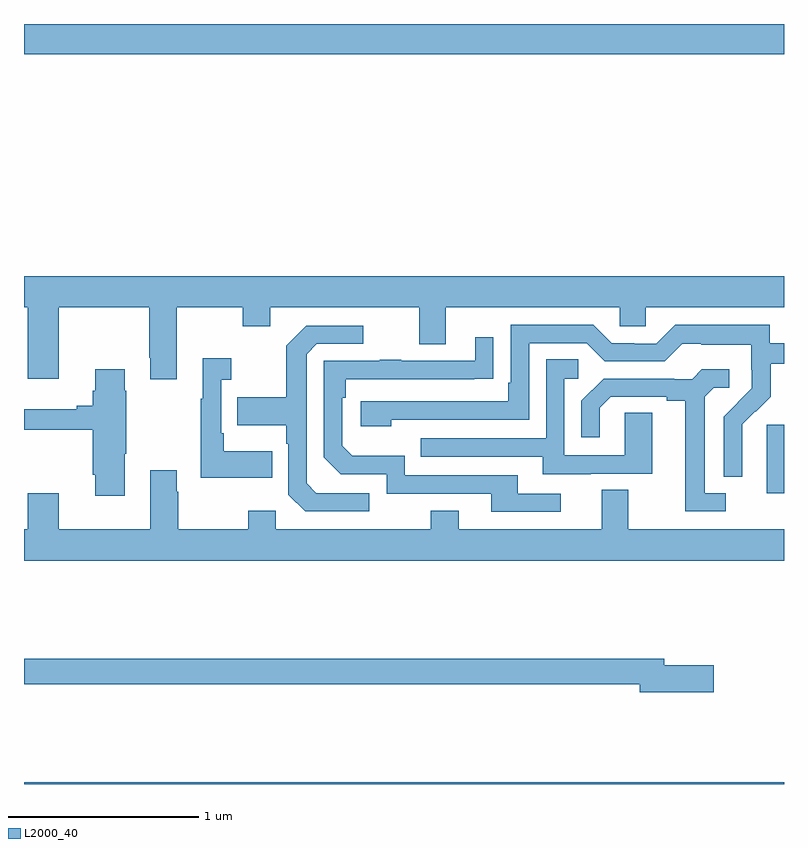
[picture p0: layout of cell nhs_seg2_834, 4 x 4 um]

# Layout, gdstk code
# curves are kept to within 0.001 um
import gdstk
lib = gdstk.Library(unit=1e-6, precision=1e-09)
def R(c, l, rs):  # rectangles x0, y0, x1, y1
    for r in rs: c.add(gdstk.rectangle(r[:2], r[2:], *l))
def P(c, l, *ps):  # polygons
    for p in ps: c.add(gdstk.Polygon(p, *l))
L2000_40 = (2000, 40)

nhs_seg2_834 = lib.new_cell('nhs_seg2_834')
R(nhs_seg2_834, L2000_40, [(153,639.8,157,639.808), (156.908,641.33,157,641.691), (153,643.64,157,643.8)])
P(nhs_seg2_834, L2000_40, [(153.805,642.308),(154.15,642.308),(154.15,642.209),(154.297,642.209),(154.297,642.308),(155.081,642.308),(155.081,642.114),(155.221,642.114),(155.221,642.308),(156.135,642.308),(156.135,642.21),(156.273,642.21),(156.273,642.308),(157,642.308),(157,642.472),(153,642.472),(153,642.308),(153.02,642.308),(153.02,641.934),(153.184,641.934),(153.184,642.308),(153.658,642.308),(153.658,642.043),(153.665,642.043),(153.665,641.931),(153.805,641.931)],
  [(156.78,641.57),(156.779,641.693),(156.849,641.763),(156.852,641.76),(156.929,641.837),(156.929,642.012),(157,642.012),(157,642.12),(156.924,642.12),(156.924,642.217),(156.427,642.217),(156.327,642.117),(156.212,642.117),(156.212,642.12),(156.093,642.12),(155.997,642.216),(155.562,642.216),(155.562,641.911),(155.549,641.911),(155.549,641.814),(154.773,641.814),(154.773,641.684),(154.934,641.684),(154.934,641.718),(155.658,641.718),(155.658,642.12),(155.961,642.12),(156.057,642.024),(156.372,642.024),(156.465,642.117),(156.565,642.117),(156.565,642.113),(156.828,642.113),(156.828,641.979),(156.83,641.979),(156.83,641.882),(156.684,641.734),(156.684,641.416),(156.78,641.416)],
  [(154.816,641.331),(154.539,641.331),(154.488,641.382),(154.488,642.063),(154.542,642.117),(154.786,642.117),(154.786,642.213),(154.485,642.213),(154.38,642.107),(154.38,641.835),(154.123,641.835),(154.123,641.687),(154.38,641.687),(154.38,641.591),(154.392,641.591),(154.392,641.322),(154.479,641.235),(154.816,641.235)],
  [(155.824,641.328),(155.599,641.328),(155.599,641.424),(155.004,641.424),(155.004,641.527),(154.727,641.527),(154.674,641.58),(154.674,641.834),(154.694,641.834),(154.694,641.931),(155.471,641.932),(155.471,642.151),(155.375,642.151),(155.375,642.027),(154.985,642.027),(154.985,642.032),(154.873,642.032),(154.873,642.027),(154.578,642.027),(154.578,641.52),(154.668,641.43),(154.908,641.43),(154.908,641.328),(155.459,641.328),(155.459,641.232),(155.824,641.232)],
  [(154.307,641.551),(154.051,641.551),(154.051,641.647),(154.038,641.647),(154.038,641.927),(154.09,641.927),(154.09,642.04),(153.941,642.04),(153.941,641.827),(153.93,641.827),(153.93,641.411),(154.307,641.411)],
  [(155.983,641.433),(156.307,641.433),(156.307,641.753),(156.162,641.753),(156.162,641.529),(155.844,641.529),(155.844,641.934),(155.917,641.934),(155.917,642.035),(155.748,642.035),(155.748,641.619),(155.089,641.619),(155.089,641.523),(155.729,641.523),(155.729,641.429),(155.983,641.429)],
  [(153.529,641.539),(153.537,641.539),(153.537,641.87),(153.529,641.87),(153.529,641.983),(153.374,641.983),(153.374,641.87),(153.362,641.87),(153.362,641.792),(153.278,641.792),(153.278,641.773),(153,641.773),(153,641.664),(153.362,641.664),(153.362,641.428),(153.374,641.428),(153.374,641.316),(153.529,641.316)],
  [(156.694,641.331),(156.583,641.331),(156.583,641.839),(156.63,641.886),(156.712,641.886),(156.712,641.983),(156.568,641.983),(156.516,641.931),(156.422,641.931),(156.422,641.934),(156.05,641.934),(155.934,641.818),(155.934,641.625),(156.031,641.625),(156.031,641.781),(156.088,641.838),(156.383,641.838),(156.383,641.816),(156.479,641.816),(156.479,641.235),(156.694,641.235)],
  [(157,641.14),(156.181,641.14),(156.181,641.348),(156.041,641.348),(156.041,641.14),(155.287,641.14),(155.287,641.239),(155.14,641.239),(155.14,641.14),(154.326,641.14),(154.326,641.239),(154.18,641.239),(154.18,641.14),(153.813,641.14),(153.813,641.339),(153.805,641.339),(153.805,641.452),(153.665,641.452),(153.665,641.14),(153.184,641.14),(153.184,641.329),(153.02,641.329),(153.02,641.14),(153,641.14),(153,640.976),(157,640.976)],
  [(156.631,640.424),(156.37,640.424),(156.37,640.46),(153,640.46),(153,640.324),(156.242,640.324),(156.242,640.282),(156.631,640.282)])

lib.write_gds('nhs_seg2_834.gds')
